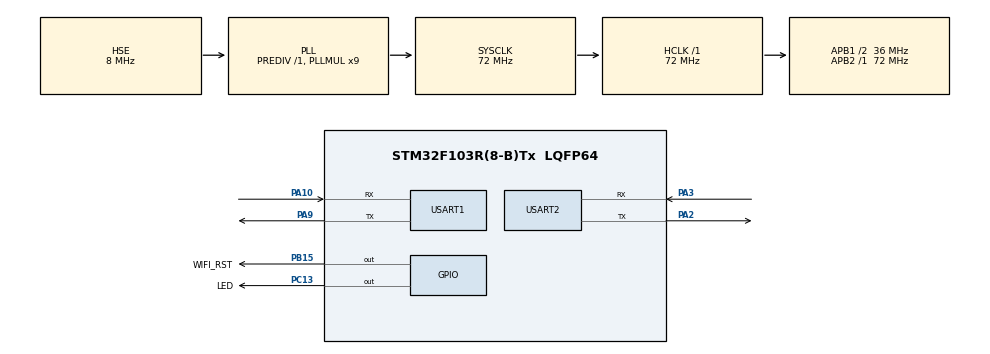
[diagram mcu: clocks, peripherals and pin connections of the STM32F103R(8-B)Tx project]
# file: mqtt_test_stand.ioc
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Dma.Request0=USART2_RX
Dma.USART2_RX.0.Direction=DMA_PERIPH_TO_MEMORY
Dma.USART2_RX.0.Instance=DMA1_Channel6
Dma.USART2_RX.0.MemDataAlignment=DMA_MDATAALIGN_BYTE
Dma.USART2_RX.0.MemInc=DMA_MINC_ENABLE
Dma.USART2_RX.0.Mode=DMA_NORMAL
Dma.USART2_RX.0.PeriphDataAlignment=DMA_PDATAALIGN_BYTE
Dma.USART2_RX.0.PeriphInc=DMA_PINC_DISABLE
Dma.USART2_RX.0.Priority=DMA_PRIORITY_LOW
Mcu.Family=STM32F1
Mcu.Name=STM32F103R(8-B)Tx
Mcu.Package=LQFP64
NVIC.DMA1_Channel6_IRQn=true\:0\:0\:false\:false\:true\:false\:true\:true
NVIC.PriorityGroup=NVIC_PRIORITYGROUP_4
NVIC.TIM2_IRQn=true\:1\:0\:true\:false\:true\:true\:true\:true
NVIC.USART1_IRQn=true\:3\:0\:true\:false\:true\:true\:true\:true
NVIC.USART2_IRQn=true\:2\:0\:true\:false\:true\:true\:true\:true
PA10.Mode=Asynchronous
PA10.Signal=USART1_RX
PA13.Mode=Serial_Wire
PA13.Signal=SYS_JTMS-SWDIO
PA14.Mode=Serial_Wire
PA14.Signal=SYS_JTCK-SWCLK
PA2.Mode=Asynchronous
PA2.Signal=USART2_TX
PA3.Mode=Asynchronous
PA3.Signal=USART2_RX
PA9.Mode=Asynchronous
PA9.Signal=USART1_TX
PB15.GPIO_Label=WIFI_RST
PB15.GPIO_Speed=GPIO_SPEED_FREQ_HIGH
PB15.Signal=GPIO_Output
PC13-TAMPER-RTC.GPIO_Label=LED
PC13-TAMPER-RTC.Signal=GPIO_Output
PC14-OSC32_IN.Mode=LSE-External-Oscillator
PC14-OSC32_IN.Signal=RCC_OSC32_IN
PC15-OSC32_OUT.Mode=LSE-External-Oscillator
PC15-OSC32_OUT.Signal=RCC_OSC32_OUT
PD0-OSC_IN.Mode=HSE-External-Oscillator
PD0-OSC_IN.Signal=RCC_OSC_IN
PD1-OSC_OUT.Mode=HSE-External-Oscillator
PD1-OSC_OUT.Signal=RCC_OSC_OUT
ProjectManager.HeapSize=0x400
ProjectManager.StackSize=0x800
ProjectManager.TargetToolchain=STM32CubeIDE
RCC.AHBFreq_Value=72000000
RCC.APB1CLKDivider=RCC_HCLK_DIV2
RCC.APB1Freq_Value=36000000
RCC.APB1TimFreq_Value=72000000
RCC.APB2Freq_Value=72000000
RCC.APB2TimFreq_Value=72000000
RCC.HCLKFreq_Value=72000000
RCC.PLLMUL=RCC_PLL_MUL9
RCC.PLLSourceVirtual=RCC_PLLSOURCE_HSE
RCC.SYSCLKFreq_VALUE=72000000
RCC.SYSCLKSource=RCC_SYSCLKSOURCE_PLLCLK
RCC.USBFreq_Value=72000000
TIM2.Period=500-1
TIM2.Prescaler=7200
USART1.VirtualMode=VM_ASYNC
USART2.VirtualMode=VM_ASYNC
VP_TIM2_VS_ClockSourceINT.Mode=Internal
board=custom

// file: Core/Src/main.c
/* USER CODE BEGIN Header */
/**
  ******************************************************************************
  * @file           : main.c
  * @brief          : Main program body
  ******************************************************************************
  * @attention
  *
  * Copyright (c) 2022 STMicroelectronics.
  * All rights reserved.
  *
  * This software is licensed under terms that can be found in the LICENSE file
  * in the root directory of this software component.
  * If no LICENSE file comes with this software, it is provided AS-IS.
  *
  ******************************************************************************
  */
/* USER CODE END Header */
#include "main.h"
#include "dma.h"
#include "tim.h"
#include "usart.h"
#include "gpio.h"

/* USER CODE BEGIN Includes */
#include "esp8266.h"
#include "mqttclient.h"
#include "MQTTPacket.h"
#include "led.h"
/* USER CODE END Includes */

/* USER CODE BEGIN PV */
uint8_t retry_count = 0;
/* USER CODE END PV */

void SystemClock_Config(void);

int main(void)
{

  /* MCU Configuration--------------------------------------------------------*/

  /* Reset of all peripherals, Initializes the Flash interface and the Systick. */
  HAL_Init();

  /* Configure the system clock */
  SystemClock_Config();

  /* Initialize all configured peripherals */
  MX_GPIO_Init();
  MX_DMA_Init();
  MX_USART1_UART_Init();
  MX_USART2_UART_Init();
  MX_TIM2_Init();
  /* USER CODE BEGIN 2 */
	u1_printf("(DBG:) System Enable!\r\n");
	LED_Blink(3, 200, LED_Final_Off);
  /* USER CODE END 2 */

  /* Infinite loop */
  /* USER CODE BEGIN WHILE */
  while (1)
  {
	  if (esp8266_SetUpTCPConnection() == _SUCCEED) { //ЕСЛИ ПОДКЛЮЧЕНИЕ К СЕРВЕРУ УСПЕШНО ТО СЧЁТЧИК СБРАСЫВАЕТ, ИНАЧЕ МЕРЦАЕТ СВЕТОДИОД И УВЕЛ ЗНАЧ. СЧЁТЧИКА
	  			retry_count = 0;
	  			break;
	  		}
	  		LED_Blink(3, 200, LED_Final_Off);
	  		retry_count++;
	  		if (retry_count >= 10) { // ЕСЛИ ЗНАЧЕНИЕ СЧЕТЧИКА ПРЕВЫСИЛИ 10, ТО ОТПРАВИТЬ СООБЩЕНИЕ В КОНСОЛЬ
	  			u1_printf("(DBG:) esp8266 ПОДКЛЮЧЕНИЕ К СЕРВЕРУ ОТКЛОНЕНО\r\n");
	  			LED_On();
	  			break;
	  		}
	  	}

	  	if (mqtt_ConnectServer() != 1) {
	  		u1_printf("(DBG:) ПОДКЛЮЧЕНИЕ К MQTT СЕРВЕРУ ОТКЛОНЕНО\r\n");
	  		LED_On();
	  	}

	  	while (1) {
    /* USER CODE END WHILE */

  }
}

void SystemClock_Config(void)
{
  RCC_OscInitTypeDef RCC_OscInitStruct = {0};
  RCC_ClkInitTypeDef RCC_ClkInitStruct = {0};

  /** Initializes the RCC Oscillators according to the specified parameters
  * in the RCC_OscInitTypeDef structure.
  */
  RCC_OscInitStruct.OscillatorType = RCC_OSCILLATORTYPE_HSE;
  RCC_OscInitStruct.HSEState = RCC_HSE_ON;
  RCC_OscInitStruct.HSEPredivValue = RCC_HSE_PREDIV_DIV1;
  RCC_OscInitStruct.HSIState = RCC_HSI_ON;
  RCC_OscInitStruct.PLL.PLLState = RCC_PLL_ON;
  RCC_OscInitStruct.PLL.PLLSource = RCC_PLLSOURCE_HSE;
  RCC_OscInitStruct.PLL.PLLMUL = RCC_PLL_MUL9;
  if (HAL_RCC_OscConfig(&RCC_OscInitStruct) != HAL_OK)
  {
    Error_Handler();
  }

  /** Initializes the CPU, AHB and APB buses clocks
  */
  RCC_ClkInitStruct.ClockType = RCC_CLOCKTYPE_HCLK|RCC_CLOCKTYPE_SYSCLK
                              |RCC_CLOCKTYPE_PCLK1|RCC_CLOCKTYPE_PCLK2;
  RCC_ClkInitStruct.SYSCLKSource = RCC_SYSCLKSOURCE_PLLCLK;
  RCC_ClkInitStruct.AHBCLKDivider = RCC_SYSCLK_DIV1;
  RCC_ClkInitStruct.APB1CLKDivider = RCC_HCLK_DIV2;
  RCC_ClkInitStruct.APB2CLKDivider = RCC_HCLK_DIV1;

  if (HAL_RCC_ClockConfig(&RCC_ClkInitStruct, FLASH_LATENCY_2) != HAL_OK)
  {
    Error_Handler();
  }
}

void Error_Handler(void)
{
  __disable_irq();
  while (1)
  {
  }
}
